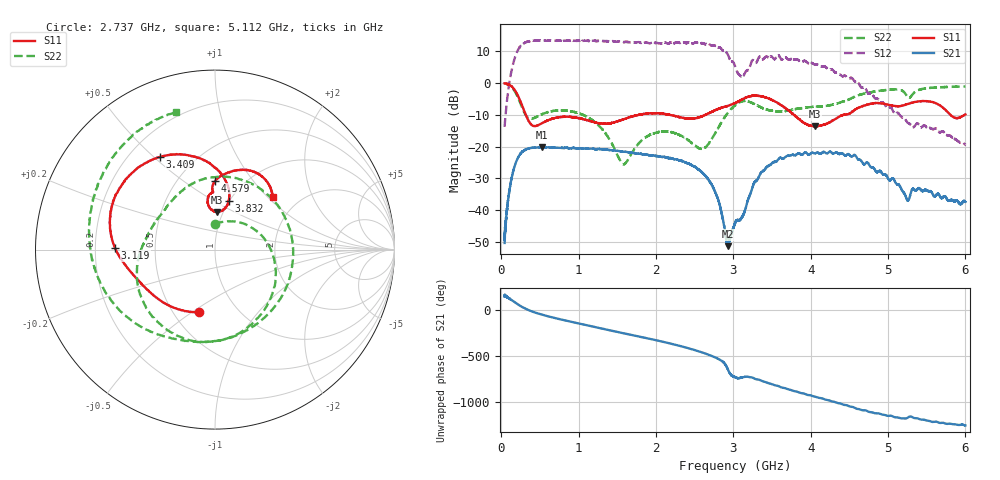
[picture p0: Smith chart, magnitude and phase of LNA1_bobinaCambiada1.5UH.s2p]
!Agilent Technologies,E8364A,US41440144,A.06.04.32
!Agilent E8364A: A.06.04.32
!Date: Thursday, November 08, 2018 15:28:23
!Correction: S11(Full 2 Port(1,2)) S21(Full 2 Port(1,2)) S12(Full 2 Port(1,2)) S22(Full 2 Port(1,2))
!S2P File: Measurements: S11, S21, S12, S22:
# Hz S  dB  R 50
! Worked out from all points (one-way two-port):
!   16001 points, 45 MHz to 6 GHz, reference 50 ohm
!   highest |S21| = -20.19 dB at 523.6 MHz (marker M1); lowest = -51.3 dB at 2.931 GHz (marker M2)
!   lowest |S11| = -13.6 dB at 4.058 GHz (marker M3), VSWR 1.53, Z = 46.7 + j20.4 ohm
!   |S11| at or under -10 dB: 318.8 MHz to 1.776 GHz (1.457 GHz wide, 139 % of centre); 2.182 GHz to 2.639 GHz (456.7 MHz wide, 18.9 % of centre); 3.784 GHz to 4.424 GHz (639.3 MHz wide, 15.6 % of centre)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
!   |S22| runs from -25.6 to -0.1 dB; largest |S21 - S12| = 4.8
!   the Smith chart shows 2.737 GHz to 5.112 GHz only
!   S11 on the Smith chart (normalised r, x): 2.737 GHz: 0.67, -0.54; 3.119 GHz: 0.28, +0.01; 3.409 GHz: 0.32, +0.53; 3.832 GHz: 0.99, +0.59; 4.579 GHz: 0.75, +0.67; 5.112 GHz: 1.49, +1.07
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4.5e7  -0.09 -19.7  -50.33 147.4  -13.75 -51.5  -0.11 -19.3
2.229056e8  -4.26 -100.5  -23.22 59.4  10.64 -133.2  -4.89 -95.2
3.453553e8  -11.40 -119.9  -20.62 4.2  13.06 171.3  -10.93 -102.4
5.236331e8  -12.67 -105.7  -20.19 -48.0  13.42 117.1  -9.84 -106.8
7.484344e8  -10.74 -130.0  -20.39 -96.2  13.34 64.7  -8.62 -148.8
1.037624e9  -11.21 -166.1  -20.53 -151.4  13.31 3.8  -9.81 149.7
1.518862e9  -11.93 169.8  -21.36 120.6  13.09 -93.7  -23.48 80.3
1.786093e9  -9.95 142.4  -22.18 72.7  12.88 -147.7  -18.79 115.1
2.030248e9  -9.51 102.7  -23.00 28.3  12.61 165.0  -15.45 63.7
2.421789e9  -11.18 2.2  -25.31 -53.5  12.83 85.1  -18.00 -66.5
2.737032e9  -8.87 -104.0  -32.72 -142.6  11.91 7.7  -17.01 90.2
2.930942e9  -7.17 -149.7  -51.33 76.1  8.96 -49.5  -9.37 -12.4
3.0225e9  -6.30 -164.8  -44.27 -6.2  5.40 -66.3  -7.05 -55.4
3.118897e9  -5.07 178.9  -41.93 -10.4  1.97 -50.7  -5.67 -99.1
3.408831e9  -4.43 120.5  -27.14 -58.3  8.10 -91.4  -8.14 171.9
3.83238e9  -10.97 74.4  -22.24 -166.9  7.39 166.5  -8.06 101.7
4.015124e9  -13.45 83.9  -21.92 151.2  6.34 126.0  -7.48 55.3
4.057926e9  -13.58 87.3  -22.09 140.8  5.78 116.3  -7.43 42.3
4.578616e9  -8.31 89.6  -22.78 15.7  0.40 -3.1  -4.19 -142.7
5.007748e9  -6.84 46.3  -30.35 -67.0  -7.81 -76.9  -2.10 123.8
5.111588e9  -7.24 42.0  -31.77 -83.1  -9.41 -92.3  -1.99 105.9
6e9  -9.86 -6.6  -37.43 -170.8  -19.37 161.2  -1.07 14.6
